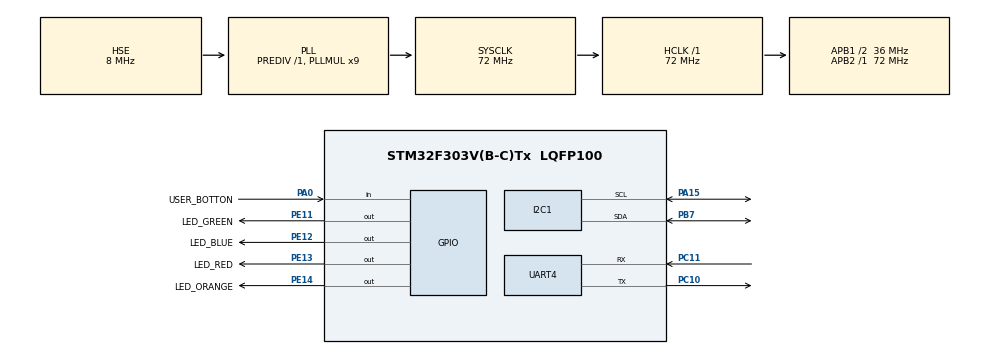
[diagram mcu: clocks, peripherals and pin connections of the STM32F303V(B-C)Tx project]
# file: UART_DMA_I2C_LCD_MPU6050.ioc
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Dma.Request0=UART4_RX
Dma.UART4_RX.0.Direction=DMA_PERIPH_TO_MEMORY
Dma.UART4_RX.0.Instance=DMA2_Channel3
Dma.UART4_RX.0.MemDataAlignment=DMA_MDATAALIGN_BYTE
Dma.UART4_RX.0.MemInc=DMA_MINC_ENABLE
Dma.UART4_RX.0.Mode=DMA_NORMAL
Dma.UART4_RX.0.PeriphDataAlignment=DMA_PDATAALIGN_BYTE
Dma.UART4_RX.0.PeriphInc=DMA_PINC_DISABLE
Dma.UART4_RX.0.Priority=DMA_PRIORITY_LOW
Mcu.Family=STM32F3
Mcu.Name=STM32F303V(B-C)Tx
Mcu.Package=LQFP100
NVIC.DMA2_Channel3_IRQn=true\:0\:0\:false\:false\:true\:false
NVIC.PriorityGroup=NVIC_PRIORITYGROUP_0
PA0.GPIO_Label=USER_BOTTON
PA0.Signal=GPIO_Input
PA13.Mode=Serial_Wire
PA13.Signal=SYS_JTMS-SWDIO
PA14.Mode=Serial_Wire
PA14.Signal=SYS_JTCK-SWCLK
PA15.Mode=I2C
PA15.Signal=I2C1_SCL
PB7.Mode=I2C
PB7.Signal=I2C1_SDA
PC10.Mode=Asynchronous
PC10.Signal=UART4_TX
PC11.Mode=Asynchronous
PC11.Signal=UART4_RX
PE11.GPIO_Label=LED_GREEN
PE11.Signal=GPIO_Output
PE12.GPIO_Label=LED_BLUE
PE12.Signal=GPIO_Output
PE13.GPIO_Label=LED_RED
PE13.Signal=GPIO_Output
PE14.GPIO_Label=LED_ORANGE
PE14.Signal=GPIO_Output
PF0-OSC_IN.Mode=HSE-External-Oscillator
PF0-OSC_IN.Signal=RCC_OSC_IN
PF1-OSC_OUT.Mode=HSE-External-Oscillator
PF1-OSC_OUT.Signal=RCC_OSC_OUT
ProjectManager.HeapSize=0x200
ProjectManager.StackSize=0x400
ProjectManager.TargetToolchain=MDK-ARM V5
RCC.AHBFreq_Value=72000000
RCC.APB1CLKDivider=RCC_HCLK_DIV2
RCC.APB1Freq_Value=36000000
RCC.APB1TimFreq_Value=72000000
RCC.APB2Freq_Value=72000000
RCC.APB2TimFreq_Value=72000000
RCC.CortexFreq_Value=72000000
RCC.HCLKFreq_Value=72000000
RCC.HSE_VALUE=8000000
RCC.HSI_VALUE=8000000
RCC.LSE_VALUE=32768
RCC.PLLMUL=RCC_PLL_MUL9
RCC.PLLSourceVirtual=RCC_PLLSOURCE_HSE
RCC.SYSCLKFreq_VALUE=72000000
RCC.SYSCLKSourceVirtual=RCC_SYSCLKSOURCE_PLLCLK
RCC.USBFreq_Value=72000000
board=STM32F3DISCOVERY

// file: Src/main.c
/**
  ******************************************************************************
  * @file           : main.c
  * @brief          : Main program body
  ******************************************************************************
  ** This notice applies to any and all portions of this file
  * that are not between comment pairs USER CODE BEGIN and
  * USER CODE END. Other portions of this file, whether
  * inserted by the user or by software development tools
  * are owned by their respective copyright owners.
  *
  * COPYRIGHT(c) 2020 STMicroelectronics
  *
  * Redistribution and use in source and binary forms, with or without modification,
  * are permitted provided that the following conditions are met:
  *   1. Redistributions of source code must retain the above copyright notice,
  *      this list of conditions and the following disclaimer.
  *   2. Redistributions in binary form must reproduce the above copyright notice,
  *      this list of conditions and the following disclaimer in the documentation
  *      and/or other materials provided with the distribution.
  *   3. Neither the name of STMicroelectronics nor the names of its contributors
  *      may be used to endorse or promote products derived from this software
  *      without specific prior written permission.
  *
  * THIS SOFTWARE IS PROVIDED BY THE COPYRIGHT HOLDERS AND CONTRIBUTORS "AS IS"
  * AND ANY EXPRESS OR IMPLIED WARRANTIES, INCLUDING, BUT NOT LIMITED TO, THE
  * IMPLIED WARRANTIES OF MERCHANTABILITY AND FITNESS FOR A PARTICULAR PURPOSE ARE
  * DISCLAIMED. IN NO EVENT SHALL THE COPYRIGHT HOLDER OR CONTRIBUTORS BE LIABLE
  * FOR ANY DIRECT, INDIRECT, INCIDENTAL, SPECIAL, EXEMPLARY, OR CONSEQUENTIAL
  * DAMAGES (INCLUDING, BUT NOT LIMITED TO, PROCUREMENT OF SUBSTITUTE GOODS OR
  * SERVICES; LOSS OF USE, DATA, OR PROFITS; OR BUSINESS INTERRUPTION) HOWEVER
  * CAUSED AND ON ANY THEORY OF LIABILITY, WHETHER IN CONTRACT, STRICT LIABILITY,
  * OR TORT (INCLUDING NEGLIGENCE OR OTHERWISE) ARISING IN ANY WAY OUT OF THE USE
  * OF THIS SOFTWARE, EVEN IF ADVISED OF THE POSSIBILITY OF SUCH DAMAGE.
  *
  ******************************************************************************
  */
#include "main.h"
#include "stm32f3xx_hal.h"
#include <string.h>

/* USER CODE BEGIN Includes */
#include "i2c-lcd.h"
#include "stdio.h" // for printf
/* USER CODE END Includes */

#ifdef __GNUC__

  #define PUTCHAR_PROTOTYPE int __io_putchar(int ch)
#else
  #define PUTCHAR_PROTOTYPE int fputc(int ch, FILE *f)
#endif /* __GNUC__ */

#define SLAVE_ADDRESS_MPU6050 0x68//0x68 // (SLAVE_ADDRESS_MPU6050 << 1) = 0xD0 // 0b11010000
#define MPU6050_WHO_AM_I_REG 0x75

#define PWR_MGMT_1 0x6B
#define SMPLRT_DIV_REG 0x19
#define GYRO_CONFIG 0x1B
#define ACCEL_CONFIG 0x1C

#define ACCEL_XOUT_H 0x3B
#define GYRO_XOUT_H 0x43

I2C_HandleTypeDef hi2c1;

UART_HandleTypeDef huart4;
DMA_HandleTypeDef hdma_uart4_rx;

/* USER CODE BEGIN PV */
/* Private variables ---------------------------------------------------------*/

/* USER CODE END PV */

void SystemClock_Config(void);
static void MX_GPIO_Init(void);
static void MX_DMA_Init(void);
static void MX_UART4_Init(void);
static void MX_I2C1_Init(void);

/* USER CODE BEGIN PFP */
/* Private function prototypes -----------------------------------------------*/

void application_handling(char *cmd);// change state according to commands

void MPU6050_Init (void)
{
	uint8_t check, data;

    HAL_I2C_Mem_Read(&hi2c1, (SLAVE_ADDRESS_MPU6050 << 1), MPU6050_WHO_AM_I_REG, 1, &check, 1, 1000); //check MPU

    if (check == 0x68)
    {
        data = 0x00;
        HAL_I2C_Mem_Write(&hi2c1, (SLAVE_ADDRESS_MPU6050 << 1), PWR_MGMT_1, 1, &data, 1, 1000); //Wakeup MPU
        data = 0x07;
        HAL_I2C_Mem_Write(&hi2c1, (SLAVE_ADDRESS_MPU6050 << 1), SMPLRT_DIV_REG, 1, &data, 1, 1000); //choose rate
        data = 0x00;
        HAL_I2C_Mem_Write(&hi2c1, (SLAVE_ADDRESS_MPU6050 << 1), ACCEL_CONFIG, 1, &data, 1, 1000);//ACC 2g init_config
        data = 0x00;
        HAL_I2C_Mem_Write(&hi2c1, (SLAVE_ADDRESS_MPU6050 << 1), GYRO_CONFIG, 1, &data, 1, 1000);//Gero 250dps init_config

        HAL_GPIO_WritePin(GPIOE, GPIO_PIN_11, GPIO_PIN_SET);
    }
    else {
        HAL_GPIO_WritePin(GPIOE, GPIO_PIN_13, GPIO_PIN_SET);
        HAL_Delay(100);
        HAL_GPIO_WritePin(GPIOE, GPIO_PIN_13, GPIO_PIN_RESET);
    }

}

void MPU6050_GET_ACC (float* Ax, float* Ay, float* Az) //Get ACC Data
{
    uint8_t data[6];
    int16_t Accel_X_RAW, Accel_Y_RAW, Accel_Z_RAW;

    HAL_I2C_Mem_Read(&hi2c1, (SLAVE_ADDRESS_MPU6050 << 1), ACCEL_XOUT_H, 1, &data[0], 6, 1000);
    Accel_X_RAW = (int16_t)((data[0] << 8) | data[1]);
    Accel_Y_RAW = (int16_t)((data[2] << 8) | data[3]);
    Accel_Z_RAW = (int16_t)((data[4] << 8) | data[5]);

    *Ax = Accel_X_RAW / 16384.0;
    *Ay = Accel_Y_RAW / 16384.0;
    *Az = Accel_Z_RAW / 16384.0;
}

void MPU6050_GET_GERO (float* Gx, float* Gy, float* Gz) //Get Gyro Data
{
    uint8_t data[6];
    int16_t GERO_X_RAW, GERO_Y_RAW, GERO_Z_RAW;

    HAL_I2C_Mem_Read(&hi2c1, (SLAVE_ADDRESS_MPU6050 << 1), GYRO_XOUT_H, 1, &data[0], 6, 1000);
    GERO_X_RAW = (int16_t)((data[0] << 8) | data[1]);
    GERO_Y_RAW = (int16_t)((data[2] << 8) | data[3]);
    GERO_Z_RAW = (int16_t)((data[4] << 8) | data[5]);

    *Gx = GERO_X_RAW / 131.0;
    *Gy = GERO_Y_RAW / 131.0;
    *Gz = GERO_Z_RAW / 131.0;
}

void LCD_PRINT(const char A, float X, float Y, float Z, int l,int c) //Write to LCD
{
    char str[16];
    char pacc[64];

    strcpy (pacc, &A);
    sprintf(str, "%.2f", X);
    strcat (pacc, str);
    sprintf(str, "%.2f", Y);
    strcat (pacc, "|");
    strcat (pacc, str);
    sprintf(str, "%.2f", Z);
    strcat (pacc, "|");
    strcat (pacc, str);

    lcd_put_cur(l,c);
    lcd_send_string(pacc);
    strcpy(pacc, "");
}
void lcd_HALLO(void)
{
    lcd_clear();
    lcd_put_cur(0,0);
    lcd_send_string("Hello World");
    HAL_Delay(1000);
    lcd_clear();
    lcd_put_cur(1,0);
    lcd_send_string("it's working");
}
/* USER CODE END PFP */

/* USER CODE BEGIN 0 */
float Ax, Ay, Az;
float Gx, Gy, Gz;

char rxbuf[25];

typedef enum
{
	UT_START = 0,
	UT_APP,
}Uart_StateMachine;

Uart_StateMachine myUART_State = UT_START;
/* USER CODE END 0 */

int main(void)
{

  /* MCU Configuration----------------------------------------------------------*/

  /* Reset of all peripherals, Initializes the Flash interface and the Systick. */
  HAL_Init();

  /* Configure the system clock */
  SystemClock_Config();

  /* Initialize all configured peripherals */
  MX_GPIO_Init();
  MX_DMA_Init();
  MX_UART4_Init();
  MX_I2C1_Init();

  lcd_init();
  MPU6050_Init();
  /* USER CODE BEGIN 2 */
    printf("starting application...\n");

    HAL_UART_Receive_DMA(&huart4, (uint8_t*)rxbuf, 3);

    //Fixed size commend of 3 bytes *[]#

    lcd_HALLO();
  /* USER CODE END 2 */

  /* Infinite loop */
  /* USER CODE BEGIN WHILE */
  while (1)
  {
      MPU6050_GET_ACC (&Ax, &Ay, &Az);
      MPU6050_GET_GERO (&Gx, &Gy, &Gz);

      lcd_clear();
      LCD_PRINT('A', Ax, Ay, Az, 0,0);
      LCD_PRINT('G', Gx, Gy, Gz, 1,0);

      HAL_GPIO_TogglePin(GPIOE, GPIO_PIN_12);
      HAL_Delay(200);
  /* USER CODE END WHILE */

  }

}

void SystemClock_Config(void)
{

  RCC_OscInitTypeDef RCC_OscInitStruct;
  RCC_ClkInitTypeDef RCC_ClkInitStruct;
  RCC_PeriphCLKInitTypeDef PeriphClkInit;

    /**Initializes the CPU, AHB and APB busses clocks
    */
  RCC_OscInitStruct.OscillatorType = RCC_OSCILLATORTYPE_HSI|RCC_OSCILLATORTYPE_HSE;
  RCC_OscInitStruct.HSEState = RCC_HSE_ON;
  RCC_OscInitStruct.HSEPredivValue = RCC_HSE_PREDIV_DIV1;
  RCC_OscInitStruct.HSIState = RCC_HSI_ON;
  RCC_OscInitStruct.HSICalibrationValue = 16;
  RCC_OscInitStruct.PLL.PLLState = RCC_PLL_ON;
  RCC_OscInitStruct.PLL.PLLSource = RCC_PLLSOURCE_HSE;
  RCC_OscInitStruct.PLL.PLLMUL = RCC_PLL_MUL9;
  if (HAL_RCC_OscConfig(&RCC_OscInitStruct) != HAL_OK)
  {
    _Error_Handler(__FILE__, __LINE__);
  }

    /**Initializes the CPU, AHB and APB busses clocks
    */
  RCC_ClkInitStruct.ClockType = RCC_CLOCKTYPE_HCLK|RCC_CLOCKTYPE_SYSCLK
                              |RCC_CLOCKTYPE_PCLK1|RCC_CLOCKTYPE_PCLK2;
  RCC_ClkInitStruct.SYSCLKSource = RCC_SYSCLKSOURCE_PLLCLK;
  RCC_ClkInitStruct.AHBCLKDivider = RCC_SYSCLK_DIV1;
  RCC_ClkInitStruct.APB1CLKDivider = RCC_HCLK_DIV2;
  RCC_ClkInitStruct.APB2CLKDivider = RCC_HCLK_DIV1;

  if (HAL_RCC_ClockConfig(&RCC_ClkInitStruct, FLASH_LATENCY_2) != HAL_OK)
  {
    _Error_Handler(__FILE__, __LINE__);
  }

  PeriphClkInit.PeriphClockSelection = RCC_PERIPHCLK_UART4|RCC_PERIPHCLK_I2C1;
  PeriphClkInit.Uart4ClockSelection = RCC_UART4CLKSOURCE_PCLK1;
  PeriphClkInit.I2c1ClockSelection = RCC_I2C1CLKSOURCE_HSI;
  if (HAL_RCCEx_PeriphCLKConfig(&PeriphClkInit) != HAL_OK)
  {
    _Error_Handler(__FILE__, __LINE__);
  }

    /**Configure the Systick interrupt time
    */
  HAL_SYSTICK_Config(HAL_RCC_GetHCLKFreq()/1000);

    /**Configure the Systick
    */
  HAL_SYSTICK_CLKSourceConfig(SYSTICK_CLKSOURCE_HCLK);

  /* SysTick_IRQn interrupt configuration */
  HAL_NVIC_SetPriority(SysTick_IRQn, 0, 0);
}

/* I2C1 init function */
static void MX_I2C1_Init(void)
{

  hi2c1.Instance = I2C1;
  hi2c1.Init.Timing = 0x2000090E;
  hi2c1.Init.OwnAddress1 = 0;
  hi2c1.Init.AddressingMode = I2C_ADDRESSINGMODE_7BIT;
  hi2c1.Init.DualAddressMode = I2C_DUALADDRESS_DISABLE;
  hi2c1.Init.OwnAddress2 = 0;
  hi2c1.Init.OwnAddress2Masks = I2C_OA2_NOMASK;
  hi2c1.Init.GeneralCallMode = I2C_GENERALCALL_DISABLE;
  hi2c1.Init.NoStretchMode = I2C_NOSTRETCH_DISABLE;
  if (HAL_I2C_Init(&hi2c1) != HAL_OK)
  {
    _Error_Handler(__FILE__, __LINE__);
  }

    /**Configure Analogue filter
    */
  if (HAL_I2CEx_ConfigAnalogFilter(&hi2c1, I2C_ANALOGFILTER_ENABLE) != HAL_OK)
  {
    _Error_Handler(__FILE__, __LINE__);
  }

    /**Configure Digital filter
    */
  if (HAL_I2CEx_ConfigDigitalFilter(&hi2c1, 0) != HAL_OK)
  {
    _Error_Handler(__FILE__, __LINE__);
  }

}

/* UART4 init function */
static void MX_UART4_Init(void)
{

  huart4.Instance = UART4;
  huart4.Init.BaudRate = 115200;
  huart4.Init.WordLength = UART_WORDLENGTH_8B;
  huart4.Init.StopBits = UART_STOPBITS_1;
  huart4.Init.Parity = UART_PARITY_NONE;
  huart4.Init.Mode = UART_MODE_TX_RX;
  huart4.Init.HwFlowCtl = UART_HWCONTROL_NONE;
  huart4.Init.OverSampling = UART_OVERSAMPLING_16;
  huart4.Init.OneBitSampling = UART_ONE_BIT_SAMPLE_DISABLE;
  huart4.AdvancedInit.AdvFeatureInit = UART_ADVFEATURE_NO_INIT;
  if (HAL_UART_Init(&huart4) != HAL_OK)
  {
    _Error_Handler(__FILE__, __LINE__);
  }

}

static void MX_DMA_Init(void)
{
  /* DMA controller clock enable */
  __HAL_RCC_DMA2_CLK_ENABLE();

  /* DMA interrupt init */
  /* DMA2_Channel3_IRQn interrupt configuration */
  HAL_NVIC_SetPriority(DMA2_Channel3_IRQn, 0, 0);
  HAL_NVIC_EnableIRQ(DMA2_Channel3_IRQn);

}

/** Configure pins as
        * Analog
        * Input
        * Output
        * EVENT_OUT
        * EXTI
*/
static void MX_GPIO_Init(void)
{

  GPIO_InitTypeDef GPIO_InitStruct;

  /* GPIO Ports Clock Enable */
  __HAL_RCC_GPIOF_CLK_ENABLE();
  __HAL_RCC_GPIOA_CLK_ENABLE();
  __HAL_RCC_GPIOE_CLK_ENABLE();
  __HAL_RCC_GPIOC_CLK_ENABLE();
  __HAL_RCC_GPIOB_CLK_ENABLE();

  /*Configure GPIO pin Output Level */
  HAL_GPIO_WritePin(GPIOE, LED_GREEN_Pin|LED_BLUE_Pin|LED_RED_Pin|LED_ORANGE_Pin, GPIO_PIN_RESET);

  /*Configure GPIO pin : USER_BOTTON_Pin */
  GPIO_InitStruct.Pin = USER_BOTTON_Pin;
  GPIO_InitStruct.Mode = GPIO_MODE_INPUT;
  GPIO_InitStruct.Pull = GPIO_NOPULL;
  HAL_GPIO_Init(USER_BOTTON_GPIO_Port, &GPIO_InitStruct);

  /*Configure GPIO pins : LED_GREEN_Pin LED_BLUE_Pin LED_RED_Pin LED_ORANGE_Pin */
  GPIO_InitStruct.Pin = LED_GREEN_Pin|LED_BLUE_Pin|LED_RED_Pin|LED_ORANGE_Pin;
  GPIO_InitStruct.Mode = GPIO_MODE_OUTPUT_PP;
  GPIO_InitStruct.Pull = GPIO_NOPULL;
  GPIO_InitStruct.Speed = GPIO_SPEED_FREQ_LOW;
  HAL_GPIO_Init(GPIOE, &GPIO_InitStruct);

}

/* USER CODE BEGIN 4 */
PUTCHAR_PROTOTYPE
{
  /* Place your implementation of fputc here */
  /* e.g. write a character to the uart4 and Loop until the end of transmission */
  HAL_UART_Transmit(&huart4, (uint8_t *)&ch, 1, 0xFFFF);

  return ch;
}

void HAL_UART_RxCpltCallback(UART_HandleTypeDef *huart)
{
  /* Prevent unused argument(s) compilation warning */
  UNUSED(huart);

    switch(myUART_State)
    {
        case UT_START: //Waiting for the wright command that starts with '*' and ends with '#'
            if(rxbuf[0] == '*' && rxbuf[2] == '#')
            {
                //prompt for a command recieve lenghth :: pruf of size
                if(((int)rxbuf[1]-'0') <= sizeof(rxbuf))// ((int)rxbuf[1]-'0') : ascii 6=54 and ascii of 0 = 48 6=54-48
                {
                    //ask of a command of the specified lenght
                    printf("Send CMD: \r\n");
                    printf("Size of rxbuf %lu\n", (int)sizeof(rxbuf));
                    printf("Size of rxbuf[1] %lu\n", ((int)rxbuf[1]-'0'));
                    printf("Send CMD: \r\n");
                    HAL_UART_Receive_DMA(&huart4, (uint8_t*)rxbuf, ((int)rxbuf[1]-'0'));
                    myUART_State = UT_APP;
                }
                else
                {
                    printf("invalid size! \r\n");
                    HAL_UART_Receive_DMA(&huart4, (uint8_t*)rxbuf, 3);
                }
            }
            else
            {
                printf("invalid CMD! \r\n");
                HAL_UART_Receive_DMA(&huart4, (uint8_t*)rxbuf, 3);
            }
            break;
        case UT_APP: //process the command
            application_handling(rxbuf);
            memset(rxbuf, sizeof(rxbuf), 0);
            //get back to state START
            myUART_State = UT_START;
            HAL_UART_Receive_DMA(&huart4, (uint8_t*)rxbuf, 3);
            break;
    }
//    //check if command is wright : *[]#
//    if(rxbuf[0] == '*' && rxbuf[2] == '#') // valid command
//    {
//        //if command is equal to 1 => LED_ORANGE ON : *1#
//        if(rxbuf[1] == '1')
//        {
//            HAL_GPIO_WritePin(GPIOE, GPIO_PIN_14, GPIO_PIN_SET);
//            printf("LED_ORANGE ON\n");
//
//        }
//        else if(rxbuf[1] == '0')
//        {
//            HAL_GPIO_WritePin(GPIOE, GPIO_PIN_14, GPIO_PIN_RESET);
//            printf("LED_ORANGE OFF\n");
//        }
//        //if command is equal to 0 => LED_ORANGE OFF : *0#
//    }
//    else // invalid command
//    {
//        printf("invalid command!\n");
//    }
//    //memset(rxbuf, sizeof(rxbuf),0);
//    HAL_UART_Receive_DMA(&huart4, (uint8_t*)rxbuf, 3);
}

void application_handling(char *cmd)
{
	if(strstr(cmd, "LED ON") != NULL)
	{
		//Turn LED ON
		HAL_GPIO_WritePin(GPIOE, GPIO_PIN_14, GPIO_PIN_SET);
		printf("LED_ORANGE ON\r\n");
	}
	else if(strstr(cmd, "LED OFF") != NULL)
	{
		//Turn LED OFF
		HAL_GPIO_WritePin(GPIOE, GPIO_PIN_14, GPIO_PIN_RESET);
		printf("LED_ORANGE OFF\r\n");
	}
	else
	{
		//Invalid command
		printf("Invalid Command!\r\n");
	}
}
/* USER CODE END 4 */

void _Error_Handler(char *file, int line)
{
  while(1)
  {
  }
}

/************************ (C) COPYRIGHT STMicroelectronics *****END OF FILE****/
